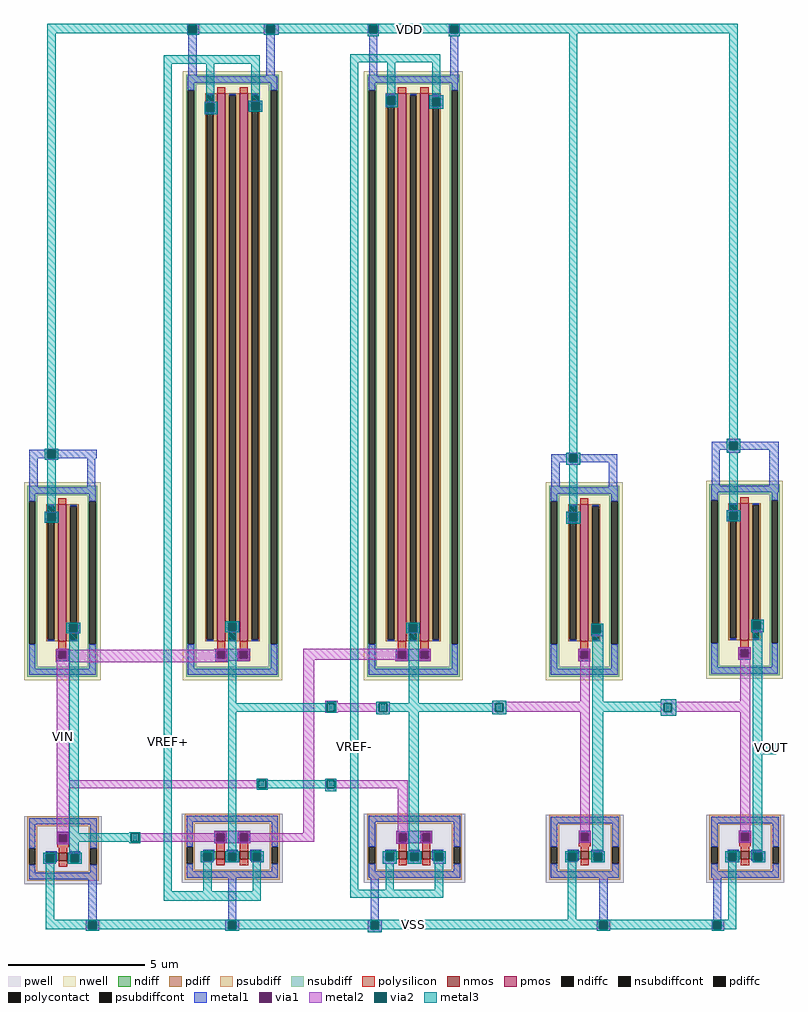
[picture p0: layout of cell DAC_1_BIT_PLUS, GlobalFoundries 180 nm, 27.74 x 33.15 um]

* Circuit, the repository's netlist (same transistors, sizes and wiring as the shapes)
* NGSPICE file created from DAC_1_BIT_PLUS.ext - technology: gf180mcuD

.subckt nfet_03v3_6AW5NP a_n56_n30# a_n208_n36# a_n346_n177# a_116_n30# a_41_86# a_n131_86#
X0 a_116_n30# a_41_86# a_n56_n30# a_n346_n177# nfet_03v3 ad=0.1596p pd=1.64u as=94.8f ps=0.92u w=0.3u l=0.3u
X1 a_n56_n30# a_n131_86# a_n208_n36# a_n346_n177# nfet_03v3 ad=94.8f pd=0.92u as=0.1596p ps=1.64u w=0.3u l=0.3u
.ends

.subckt pfet_03v3_2HCC33 a_112_n2000# a_n200_n2000# a_36_n2143# a_n52_n2000# w_n362_n2282#
+ a_n127_n2143#
X0 a_n52_n2000# a_n127_n2143# a_n200_n2000# w_n362_n2282# pfet_03v3 ad=5.2p pd=20.52u as=8.8p ps=40.88u w=20u l=0.3u
X1 a_112_n2000# a_36_n2143# a_n52_n2000# w_n362_n2282# pfet_03v3 ad=8.8p pd=40.88u as=5.2p ps=20.52u w=20u l=0.3u
.ends

.subckt pfet_03v3_77EGBB a_n118_n500# a_n45_n644# a_30_n500# w_n280_n782#
X0 a_30_n500# a_n45_n644# a_n118_n500# w_n280_n782# pfet_03v3 ad=2.2p pd=10.88u as=2.2p ps=10.88u w=5u l=0.3u
.ends

.subckt nfet_03v3_N4RDNQ a_n43_67# a_30_n30# a_n260_n177# a_n122_n36#
X0 a_30_n30# a_n43_67# a_n122_n36# a_n260_n177# nfet_03v3 ad=0.1596p pd=1.64u as=0.1596p ps=1.64u w=0.3u l=0.3u
.ends

.subckt DAC_1_BIT_PLUS VDD VREF+ VIN VOUT VREF- VSS
XXM1 m1_3480_5000# VREF+ VSS VREF+ m1_2320_6670# m1_2320_6670# nfet_03v3_6AW5NP
XXM2 VREF+ VREF+ VIN m1_3480_5000# VDD VIN pfet_03v3_2HCC33
XXM3 m1_3480_5000# VREF- VSS VREF- VIN VIN nfet_03v3_6AW5NP
XXM4 VREF- VREF- m1_2320_6670# m1_3480_5000# VDD m1_2320_6670# pfet_03v3_2HCC33
XXM5 VDD VIN m1_2320_6670# VDD pfet_03v3_77EGBB
XXM6 VIN m1_2320_6670# VSS VSS nfet_03v3_N4RDNQ
XXM7 VDD m1_3480_5000# m1_6150_5000# VDD pfet_03v3_77EGBB
XXM9 VDD m1_6150_5000# VOUT VDD pfet_03v3_77EGBB
XXM8 m1_3480_5000# m1_6150_5000# VSS VSS nfet_03v3_N4RDNQ
XXM10 m1_6150_5000# VOUT VSS VSS nfet_03v3_N4RDNQ
.ends

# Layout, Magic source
magic
tech gf180mcuD
magscale 1 10
<< metal1 >>
rect 3200 11110 3290 11120
rect 3200 11050 3210 11110
rect 3270 11050 3290 11110
rect 3200 11040 3290 11050
rect 3760 11110 3870 11120
rect 3760 11050 3780 11110
rect 3840 11050 3870 11110
rect 3760 11040 3870 11050
rect 4520 11110 4600 11120
rect 4520 11050 4530 11110
rect 4590 11050 4600 11110
rect 3210 10690 3270 11040
rect 3780 10690 3840 11040
rect 4520 11030 4600 11050
rect 5110 11110 5190 11120
rect 5110 11050 5120 11110
rect 5180 11050 5190 11110
rect 5110 11030 5190 11050
rect 4530 10690 4590 11030
rect 5120 10690 5180 11030
rect 4650 10590 4740 10610
rect 3650 10550 3750 10560
rect 3330 10540 3420 10550
rect 3330 10480 3340 10540
rect 3400 10480 3420 10540
rect 3650 10490 3670 10550
rect 3730 10490 3750 10550
rect 4650 10530 4660 10590
rect 4720 10530 4740 10590
rect 4650 10510 4740 10530
rect 4970 10580 5070 10600
rect 4970 10520 4990 10580
rect 5050 10520 5070 10580
rect 4970 10500 5070 10520
rect 3650 10480 3750 10490
rect 3330 10460 3420 10480
rect 7140 8070 7240 8090
rect 2160 8010 2260 8020
rect 7030 8010 7160 8070
rect 7220 8010 7520 8070
rect 2050 7950 2180 8010
rect 2240 7950 2540 8010
rect 5970 7980 6070 7990
rect 2050 7690 2110 7950
rect 2160 7940 2260 7950
rect 2470 7690 2530 7950
rect 5860 7920 5990 7980
rect 6050 7920 6340 7980
rect 5860 7690 5920 7920
rect 5970 7900 6070 7920
rect 6280 7690 6340 7920
rect 7030 7700 7090 8010
rect 7140 7990 7240 8010
rect 7450 7700 7520 8010
rect 7140 7560 7240 7570
rect 2160 7550 2260 7560
rect 2160 7490 2180 7550
rect 2240 7490 2260 7550
rect 2160 7480 2260 7490
rect 5970 7550 6070 7560
rect 5970 7490 5990 7550
rect 6050 7490 6070 7550
rect 7140 7500 7160 7560
rect 7220 7500 7240 7560
rect 7140 7490 7240 7500
rect 5970 7470 6070 7490
rect 7320 6760 7410 6770
rect 3480 6750 3580 6760
rect 2320 6740 2420 6750
rect 2320 6680 2340 6740
rect 2400 6680 2420 6740
rect 3480 6690 3500 6750
rect 3560 6690 3580 6750
rect 3480 6680 3580 6690
rect 4800 6740 4900 6750
rect 4800 6680 4820 6740
rect 4880 6680 4900 6740
rect 2320 6670 2420 6680
rect 4800 6670 4900 6680
rect 6150 6730 6240 6740
rect 6150 6670 6160 6730
rect 6220 6670 6240 6730
rect 7320 6700 7330 6760
rect 7390 6700 7410 6760
rect 7320 6680 7410 6700
rect 6150 6650 6240 6670
rect 2250 6485 2260 6545
rect 2320 6485 2330 6545
rect 3410 6485 3420 6545
rect 3480 6485 3490 6545
rect 3573 6485 3583 6545
rect 3643 6485 3653 6545
rect 4730 6485 4740 6545
rect 4800 6485 4810 6545
rect 4893 6485 4903 6545
rect 4963 6485 4973 6545
rect 6060 6485 6070 6545
rect 6130 6485 6140 6545
rect 7230 6495 7240 6555
rect 7300 6495 7310 6555
rect 2254 5145 2264 5205
rect 2324 5145 2334 5205
rect 3404 5150 3414 5210
rect 3474 5150 3484 5210
rect 3576 5150 3586 5210
rect 3646 5150 3656 5210
rect 4734 5149 4744 5210
rect 4804 5149 4814 5210
rect 4906 5150 4916 5211
rect 4976 5150 4986 5211
rect 6064 5155 6074 5215
rect 6134 5155 6144 5215
rect 7234 5154 7244 5215
rect 7304 5154 7314 5215
rect 3300 5070 3390 5080
rect 2150 5060 2240 5070
rect 2150 5000 2170 5060
rect 2230 5000 2240 5060
rect 2150 4990 2240 5000
rect 2330 5060 2430 5070
rect 2330 5000 2350 5060
rect 2410 5000 2430 5060
rect 3300 5010 3320 5070
rect 3380 5010 3390 5070
rect 3300 5000 3390 5010
rect 3480 5070 3580 5080
rect 3480 5010 3500 5070
rect 3560 5010 3580 5070
rect 3480 5000 3580 5010
rect 3670 5070 3760 5080
rect 3670 5010 3680 5070
rect 3740 5010 3760 5070
rect 3670 5000 3760 5010
rect 4630 5070 4730 5080
rect 4630 5010 4650 5070
rect 4710 5010 4730 5070
rect 2330 4990 2430 5000
rect 4630 4990 4730 5010
rect 4810 5070 4910 5080
rect 4810 5010 4830 5070
rect 4890 5010 4910 5070
rect 4810 4990 4910 5010
rect 5000 5070 5090 5080
rect 5000 5010 5010 5070
rect 5070 5010 5090 5070
rect 5000 4990 5090 5010
rect 5960 5070 6050 5080
rect 5960 5010 5980 5070
rect 6040 5010 6050 5070
rect 5960 5000 6050 5010
rect 6150 5070 6250 5080
rect 6150 5010 6170 5070
rect 6230 5010 6250 5070
rect 6150 5000 6250 5010
rect 7130 5070 7230 5080
rect 7130 5010 7150 5070
rect 7210 5010 7230 5070
rect 7130 5000 7230 5010
rect 7330 5070 7420 5080
rect 7330 5010 7340 5070
rect 7400 5010 7420 5070
rect 7330 5000 7420 5010
rect 2480 4580 2540 4900
rect 3500 4580 3560 4920
rect 4540 4580 4600 4920
rect 6210 4580 6270 4930
rect 7040 4580 7100 4910
rect 2460 4570 2560 4580
rect 2460 4510 2480 4570
rect 2540 4510 2560 4570
rect 2460 4500 2560 4510
rect 3480 4570 3580 4580
rect 3480 4510 3500 4570
rect 3560 4510 3580 4570
rect 3480 4500 3580 4510
rect 4520 4570 4620 4580
rect 4520 4510 4540 4570
rect 4600 4510 4620 4570
rect 4520 4490 4620 4510
rect 6190 4570 6290 4580
rect 6190 4510 6210 4570
rect 6270 4510 6290 4570
rect 6190 4500 6290 4510
rect 7030 4570 7120 4580
rect 7030 4510 7040 4570
rect 7100 4510 7120 4570
rect 7030 4500 7120 4510
<< via1 >>
rect 3210 11050 3270 11110
rect 3780 11050 3840 11110
rect 4530 11050 4590 11110
rect 5120 11050 5180 11110
rect 3340 10480 3400 10540
rect 3670 10490 3730 10550
rect 4660 10530 4720 10590
rect 4990 10520 5050 10580
rect 7160 8010 7220 8070
rect 2180 7950 2240 8010
rect 5990 7920 6050 7980
rect 2180 7490 2240 7550
rect 5990 7490 6050 7550
rect 7160 7500 7220 7560
rect 2340 6680 2400 6740
rect 3500 6690 3560 6750
rect 4820 6680 4880 6740
rect 6160 6670 6220 6730
rect 7330 6700 7390 6760
rect 2260 6485 2320 6545
rect 3420 6485 3480 6545
rect 3583 6485 3643 6545
rect 4740 6485 4800 6545
rect 4903 6485 4963 6545
rect 6070 6485 6130 6545
rect 7240 6495 7300 6555
rect 2264 5145 2324 5205
rect 3414 5150 3474 5210
rect 3586 5150 3646 5210
rect 4744 5149 4804 5210
rect 4916 5150 4976 5211
rect 6074 5155 6134 5215
rect 7244 5154 7304 5215
rect 2170 5000 2230 5060
rect 2350 5000 2410 5060
rect 3320 5010 3380 5070
rect 3500 5010 3560 5070
rect 3680 5010 3740 5070
rect 4650 5010 4710 5070
rect 4830 5010 4890 5070
rect 5010 5010 5070 5070
rect 5980 5010 6040 5070
rect 6170 5010 6230 5070
rect 7150 5010 7210 5070
rect 7340 5010 7400 5070
rect 2480 4510 2540 4570
rect 3500 4510 3560 4570
rect 4540 4510 4600 4570
rect 6210 4510 6270 4570
rect 7040 4510 7100 4570
<< metal2 >>
rect 3200 11110 3290 11120
rect 3200 11050 3210 11110
rect 3270 11050 3290 11110
rect 3200 11040 3290 11050
rect 3760 11110 3870 11120
rect 3760 11050 3780 11110
rect 3840 11050 3870 11110
rect 3760 11040 3870 11050
rect 4520 11110 4600 11120
rect 4520 11050 4530 11110
rect 4590 11050 4600 11110
rect 4520 11030 4600 11050
rect 5110 11110 5190 11120
rect 5110 11050 5120 11110
rect 5180 11050 5190 11110
rect 5110 11030 5190 11050
rect 4650 10590 4740 10610
rect 3650 10550 3750 10560
rect 3330 10540 3420 10550
rect 3330 10480 3340 10540
rect 3400 10480 3420 10540
rect 3650 10490 3670 10550
rect 3730 10490 3750 10550
rect 4650 10530 4660 10590
rect 4720 10530 4740 10590
rect 4650 10510 4740 10530
rect 4970 10580 5070 10600
rect 4970 10520 4990 10580
rect 5050 10520 5070 10580
rect 4970 10500 5070 10520
rect 3650 10480 3750 10490
rect 3330 10460 3420 10480
rect 7140 8070 7240 8090
rect 2160 8010 2260 8020
rect 2160 7950 2180 8010
rect 2240 7950 2260 8010
rect 7140 8010 7160 8070
rect 7220 8010 7240 8070
rect 7140 7990 7240 8010
rect 2160 7940 2260 7950
rect 5970 7980 6070 7990
rect 5970 7920 5990 7980
rect 6050 7920 6070 7980
rect 5970 7900 6070 7920
rect 7140 7560 7240 7570
rect 2160 7550 2260 7560
rect 2160 7490 2180 7550
rect 2240 7490 2260 7550
rect 2160 7480 2260 7490
rect 5970 7550 6070 7560
rect 5970 7490 5990 7550
rect 6050 7490 6070 7550
rect 7140 7500 7160 7560
rect 7220 7500 7240 7560
rect 7140 7490 7240 7500
rect 5970 7470 6070 7490
rect 7320 6760 7410 6770
rect 3480 6750 3580 6760
rect 2320 6740 2420 6750
rect 2320 6680 2340 6740
rect 2400 6680 2420 6740
rect 3480 6690 3500 6750
rect 3560 6690 3580 6750
rect 3480 6680 3580 6690
rect 4800 6740 4900 6750
rect 4800 6680 4820 6740
rect 4880 6680 4900 6740
rect 2320 6670 2420 6680
rect 4800 6670 4900 6680
rect 6150 6730 6240 6740
rect 6150 6670 6160 6730
rect 6220 6670 6240 6730
rect 7320 6700 7330 6760
rect 7390 6700 7410 6760
rect 7320 6680 7410 6700
rect 6150 6650 6240 6670
rect 2250 6558 2340 6560
rect 2245 6550 2340 6558
rect 3400 6550 3660 6560
rect 2240 6545 3660 6550
rect 2240 6485 2260 6545
rect 2320 6485 3420 6545
rect 3480 6485 3583 6545
rect 3643 6485 3660 6545
rect 2240 6470 3660 6485
rect 4050 6545 4980 6560
rect 4050 6485 4740 6545
rect 4800 6485 4903 6545
rect 4963 6485 4980 6545
rect 4050 6480 4980 6485
rect 2240 6460 3500 6470
rect 3568 6469 3658 6470
rect 2250 5600 2340 6460
rect 3710 5600 3790 5610
rect 2250 5540 3720 5600
rect 3780 5540 3790 5600
rect 2250 5342 2340 5540
rect 3710 5530 3790 5540
rect 2249 5330 2340 5342
rect 2249 5205 2339 5330
rect 3400 5227 3660 5230
rect 2249 5145 2264 5205
rect 2324 5145 2339 5205
rect 2249 5131 2339 5145
rect 2790 5210 2850 5220
rect 3399 5210 3661 5227
rect 4050 5210 4130 6480
rect 4720 6470 4980 6480
rect 6055 6545 6145 6558
rect 6055 6485 6070 6545
rect 6130 6485 6145 6545
rect 4725 6469 4815 6470
rect 4888 6469 4978 6470
rect 6055 6468 6145 6485
rect 7225 6555 7315 6568
rect 7225 6495 7240 6555
rect 7300 6495 7315 6555
rect 7225 6478 7315 6495
rect 4210 6160 4300 6180
rect 5430 6170 5530 6180
rect 6070 6170 6140 6468
rect 4580 6160 4680 6170
rect 4210 6100 4220 6160
rect 4280 6100 4600 6160
rect 4660 6100 4680 6160
rect 4210 6090 4300 6100
rect 4580 6080 4680 6100
rect 5430 6160 6140 6170
rect 5430 6100 5450 6160
rect 5510 6100 6140 6160
rect 5430 6080 5530 6100
rect 4210 5600 4290 5610
rect 4210 5540 4220 5600
rect 4280 5540 4810 5600
rect 4210 5520 4290 5540
rect 4740 5230 4810 5540
rect 6070 5231 6140 6100
rect 6660 6170 6770 6190
rect 7240 6170 7310 6478
rect 6660 6160 7310 6170
rect 6660 6100 6680 6160
rect 6740 6100 7310 6160
rect 6660 6070 6770 6100
rect 7240 5231 7310 6100
rect 4730 5228 4990 5230
rect 4730 5227 4992 5228
rect 2850 5150 3414 5210
rect 3474 5150 3586 5210
rect 3646 5150 4130 5210
rect 4729 5211 4992 5227
rect 4729 5210 4916 5211
rect 2790 5140 2850 5150
rect 3399 5140 3661 5150
rect 3399 5137 3489 5140
rect 3571 5137 3661 5140
rect 4729 5149 4744 5210
rect 4804 5150 4916 5210
rect 4976 5150 4992 5211
rect 4804 5149 4992 5150
rect 4729 5140 4992 5149
rect 6059 5215 6149 5231
rect 6059 5155 6074 5215
rect 6134 5155 6149 5215
rect 6059 5141 6149 5155
rect 7229 5215 7319 5231
rect 7229 5154 7244 5215
rect 7304 5154 7319 5215
rect 7229 5141 7319 5154
rect 4729 5136 4820 5140
rect 4901 5137 4992 5140
rect 3300 5070 3390 5080
rect 2150 5060 2240 5070
rect 2150 5000 2170 5060
rect 2230 5000 2240 5060
rect 2150 4990 2240 5000
rect 2330 5060 2430 5070
rect 2330 5000 2350 5060
rect 2410 5000 2430 5060
rect 3300 5010 3320 5070
rect 3380 5010 3390 5070
rect 3300 5000 3390 5010
rect 3480 5070 3580 5080
rect 3480 5010 3500 5070
rect 3560 5010 3580 5070
rect 3480 5000 3580 5010
rect 3670 5070 3760 5080
rect 3670 5010 3680 5070
rect 3740 5010 3760 5070
rect 3670 5000 3760 5010
rect 4630 5070 4730 5080
rect 4630 5010 4650 5070
rect 4710 5010 4730 5070
rect 2330 4990 2430 5000
rect 4630 4990 4730 5010
rect 4810 5070 4910 5080
rect 4810 5010 4830 5070
rect 4890 5010 4910 5070
rect 4810 4990 4910 5010
rect 5000 5070 5090 5080
rect 5000 5010 5010 5070
rect 5070 5010 5090 5070
rect 5000 4990 5090 5010
rect 5960 5070 6050 5080
rect 5960 5010 5980 5070
rect 6040 5010 6050 5070
rect 5960 5000 6050 5010
rect 6150 5070 6250 5080
rect 6150 5010 6170 5070
rect 6230 5010 6250 5070
rect 6150 5000 6250 5010
rect 7130 5070 7230 5080
rect 7130 5010 7150 5070
rect 7210 5010 7230 5070
rect 7130 5000 7230 5010
rect 7330 5070 7420 5080
rect 7330 5010 7340 5070
rect 7400 5010 7420 5070
rect 7330 5000 7420 5010
rect 2460 4570 2560 4580
rect 2460 4510 2480 4570
rect 2540 4510 2560 4570
rect 2460 4500 2560 4510
rect 3480 4570 3580 4580
rect 3480 4510 3500 4570
rect 3560 4510 3580 4570
rect 3480 4500 3580 4510
rect 4520 4570 4620 4580
rect 4520 4510 4540 4570
rect 4600 4510 4620 4570
rect 4520 4490 4620 4510
rect 6190 4570 6290 4580
rect 6190 4510 6210 4570
rect 6270 4510 6290 4570
rect 6190 4500 6290 4510
rect 7030 4570 7120 4580
rect 7030 4510 7040 4570
rect 7100 4510 7120 4570
rect 7030 4500 7120 4510
<< via2 >>
rect 3210 11050 3270 11110
rect 3780 11050 3840 11110
rect 4530 11050 4590 11110
rect 5120 11050 5180 11110
rect 3340 10480 3400 10540
rect 3670 10490 3730 10550
rect 4660 10530 4720 10590
rect 4990 10520 5050 10580
rect 2180 7950 2240 8010
rect 7160 8010 7220 8070
rect 5990 7920 6050 7980
rect 2180 7490 2240 7550
rect 5990 7490 6050 7550
rect 7160 7500 7220 7560
rect 2340 6680 2400 6740
rect 3500 6690 3560 6750
rect 4820 6680 4880 6740
rect 6160 6670 6220 6730
rect 7330 6700 7390 6760
rect 3720 5540 3780 5600
rect 4220 6100 4280 6160
rect 4600 6100 4660 6160
rect 5450 6100 5510 6160
rect 4220 5540 4280 5600
rect 6680 6100 6740 6160
rect 2790 5150 2850 5210
rect 2170 5000 2230 5060
rect 2350 5000 2410 5060
rect 3320 5010 3380 5070
rect 3500 5010 3560 5070
rect 3680 5010 3740 5070
rect 4650 5010 4710 5070
rect 4830 5010 4890 5070
rect 5010 5010 5070 5070
rect 5980 5010 6040 5070
rect 6170 5010 6230 5070
rect 7150 5010 7210 5070
rect 7340 5010 7400 5070
rect 2480 4510 2540 4570
rect 3500 4510 3560 4570
rect 4540 4510 4600 4570
rect 6210 4510 6270 4570
rect 7040 4510 7100 4570
<< metal3 >>
rect 2180 11110 7220 11120
rect 2180 11050 3210 11110
rect 3270 11050 3780 11110
rect 3840 11050 4530 11110
rect 4590 11050 5120 11110
rect 5180 11050 7220 11110
rect 2180 8020 2240 11050
rect 3200 11040 3290 11050
rect 3760 11040 3870 11050
rect 4520 11030 4600 11050
rect 5110 11030 5190 11050
rect 3030 10830 3730 10890
rect 2160 8010 2260 8020
rect 2160 7950 2180 8010
rect 2240 7950 2260 8010
rect 2160 7940 2260 7950
rect 2180 7560 2240 7940
rect 2160 7550 2260 7560
rect 2160 7490 2180 7550
rect 2240 7490 2260 7550
rect 2160 7480 2260 7490
rect 2320 6740 2420 6750
rect 2320 6680 2340 6740
rect 2400 6680 2420 6740
rect 2320 6670 2420 6680
rect 2340 5210 2410 6670
rect 2780 5210 2860 5220
rect 2340 5150 2790 5210
rect 2850 5150 2860 5210
rect 2340 5070 2410 5150
rect 2780 5140 2860 5150
rect 2150 5060 2240 5070
rect 2150 5000 2170 5060
rect 2230 5000 2240 5060
rect 2150 4990 2240 5000
rect 2330 5060 2430 5070
rect 2330 5000 2350 5060
rect 2410 5000 2430 5060
rect 2330 4990 2430 5000
rect 2170 4580 2230 4990
rect 3030 4790 3090 10830
rect 3340 10550 3400 10830
rect 3670 10560 3730 10830
rect 4390 10840 5050 10900
rect 3650 10550 3750 10560
rect 3330 10540 3420 10550
rect 3330 10480 3340 10540
rect 3400 10480 3420 10540
rect 3650 10490 3670 10550
rect 3730 10490 3750 10550
rect 3650 10480 3750 10490
rect 3330 10460 3420 10480
rect 3480 6750 3580 6760
rect 3480 6690 3500 6750
rect 3560 6690 3580 6750
rect 3480 6680 3580 6690
rect 3500 6160 3560 6680
rect 4220 6160 4290 6170
rect 3500 6100 4220 6160
rect 4280 6100 4290 6160
rect 3500 5080 3560 6100
rect 4220 6090 4290 6100
rect 3710 5600 3790 5610
rect 4210 5600 4290 5610
rect 3710 5540 3720 5600
rect 3780 5540 4220 5600
rect 4280 5540 4290 5600
rect 3710 5530 3790 5540
rect 4210 5520 4290 5540
rect 3300 5070 3390 5080
rect 3300 5010 3320 5070
rect 3380 5010 3390 5070
rect 3300 5000 3390 5010
rect 3480 5070 3580 5080
rect 3480 5010 3500 5070
rect 3560 5010 3580 5070
rect 3480 5000 3580 5010
rect 3670 5070 3760 5080
rect 3670 5010 3680 5070
rect 3740 5010 3760 5070
rect 3670 5000 3760 5010
rect 3320 4790 3380 5000
rect 3680 4790 3740 5000
rect 3030 4720 3740 4790
rect 4390 4800 4450 10840
rect 4660 10610 4720 10840
rect 4650 10590 4740 10610
rect 4990 10600 5050 10840
rect 4650 10530 4660 10590
rect 4720 10530 4740 10590
rect 4650 10510 4740 10530
rect 4970 10580 5070 10600
rect 4970 10520 4990 10580
rect 5050 10520 5070 10580
rect 4970 10500 5070 10520
rect 5990 7990 6050 11050
rect 7160 8090 7220 11050
rect 7140 8070 7240 8090
rect 7140 8010 7160 8070
rect 7220 8010 7240 8070
rect 7140 7990 7240 8010
rect 5970 7980 6070 7990
rect 5970 7920 5990 7980
rect 6050 7920 6070 7980
rect 5970 7900 6070 7920
rect 5990 7560 6050 7900
rect 7160 7570 7220 7990
rect 7140 7560 7240 7570
rect 5970 7550 6070 7560
rect 5970 7490 5990 7550
rect 6050 7490 6070 7550
rect 7140 7500 7160 7560
rect 7220 7500 7240 7560
rect 7140 7490 7240 7500
rect 5970 7470 6070 7490
rect 7320 6760 7410 6770
rect 4800 6740 4900 6750
rect 4800 6680 4820 6740
rect 4880 6680 4900 6740
rect 4800 6670 4900 6680
rect 6150 6730 6240 6740
rect 6150 6670 6160 6730
rect 6220 6670 6240 6730
rect 7320 6700 7330 6760
rect 7390 6700 7410 6760
rect 7320 6680 7410 6700
rect 4580 6160 4680 6170
rect 4820 6160 4890 6670
rect 6150 6650 6240 6670
rect 5430 6160 5530 6180
rect 4580 6100 4600 6160
rect 4660 6100 5450 6160
rect 5510 6100 5530 6160
rect 4580 6080 4680 6100
rect 4820 5080 4890 6100
rect 5430 6080 5530 6100
rect 6160 6170 6240 6650
rect 6660 6170 6770 6190
rect 6160 6160 6770 6170
rect 6160 6100 6680 6160
rect 6740 6100 6770 6160
rect 6160 5080 6240 6100
rect 6660 6070 6770 6100
rect 7330 5870 7400 6680
rect 7330 5790 7500 5870
rect 7330 5080 7400 5790
rect 4630 5070 4730 5080
rect 4630 5010 4650 5070
rect 4710 5010 4730 5070
rect 4630 4990 4730 5010
rect 4810 5070 4910 5080
rect 4810 5010 4830 5070
rect 4890 5010 4910 5070
rect 4810 4990 4910 5010
rect 5000 5070 5090 5080
rect 5000 5010 5010 5070
rect 5070 5010 5090 5070
rect 5000 4990 5090 5010
rect 5960 5070 6050 5080
rect 5960 5010 5980 5070
rect 6040 5010 6050 5070
rect 5960 5000 6050 5010
rect 6150 5070 6250 5080
rect 6150 5010 6170 5070
rect 6230 5010 6250 5070
rect 6150 5000 6250 5010
rect 7130 5070 7230 5080
rect 7130 5010 7150 5070
rect 7210 5010 7230 5070
rect 7130 5000 7230 5010
rect 7330 5070 7420 5080
rect 7330 5010 7340 5070
rect 7400 5010 7420 5070
rect 7330 5000 7420 5010
rect 4650 4800 4710 4990
rect 5010 4800 5070 4990
rect 4390 4740 5070 4800
rect 5980 4580 6040 5000
rect 7150 4580 7210 5000
rect 2170 4570 7210 4580
rect 2170 4510 2480 4570
rect 2540 4510 3500 4570
rect 3560 4510 4540 4570
rect 4600 4510 6210 4570
rect 6270 4510 7040 4570
rect 7100 4510 7210 4570
rect 2460 4500 2560 4510
rect 3480 4500 3580 4510
rect 4520 4490 4620 4510
rect 6190 4500 6290 4510
rect 7030 4500 7120 4510
use nfet_03v3_6AW5NP  XM1
transform 1 0 3530 0 1 5051
box -370 -201 370 302
use pfet_03v3_2HCC33  XM2
transform 1 0 3532 0 1 8612
box -362 -2282 362 2162
use nfet_03v3_6AW5NP  XM3
transform 1 0 4860 0 1 5051
box -370 -201 370 302
use pfet_03v3_2HCC33  XM4
transform 1 0 4852 0 1 8612
box -362 -2282 362 2162
use pfet_03v3_77EGBB  XM5
transform 1 0 2290 0 1 7112
box -280 -782 280 662
use nfet_03v3_N4RDNQ  XM6
transform 1 0 2294 0 1 5041
box -284 -201 284 294
use pfet_03v3_77EGBB  XM7
transform 1 0 6100 0 1 7112
box -280 -782 280 662
use nfet_03v3_N4RDNQ  XM8
transform 1 0 6104 0 1 5051
box -284 -201 284 294
use pfet_03v3_77EGBB  XM9
transform 1 0 7270 0 1 7122
box -280 -782 280 662
use nfet_03v3_N4RDNQ  XM10
transform 1 0 7274 0 1 5051
box -284 -201 284 294
<< labels >>
rlabel metal3 4810 11070 4840 11090 0 VDD
port 1 nsew power bidirectional
rlabel metal3 3050 5870 3080 5900 0 VREF+
port 2 nsew analog input
rlabel metal2 2280 5900 2310 5930 0 VIN
port 3 nsew signal input
rlabel metal3 7450 5820 7480 5850 0 VOUT
port 4 nsew analog output
rlabel metal3 4410 5830 4440 5860 0 VREF-
port 5 nsew analog input
rlabel metal3 4840 4530 4870 4560 0 VSS
port 6 nsew ground bidirectional
<< end >>

# cell nfet_03v3_6AW5NP: kit device nfet_03v3, w 0.3 l 0.3 m 1 nf 2 diffcov 100 polycov 100 guard 1 glc 1 grc 1 gtc 0 gbc 0 tbcov 100 rlcov 100 topc 0 botc 0 poverlap 0 doverlap 1 lmin 0.28 wmin 0.22 class mosfet full_metal 1 compatible {nfet_03v3 nfet_05v0 nfet_06v0 nfet_06v0_nvt}

# cell pfet_03v3_2HCC33: kit device pfet_03v3, w 20 l 0.3 m 1 nf 2 diffcov 100 polycov 100 guard 1 glc 1 grc 1 gtc 0 gbc 0 tbcov 100 rlcov 100 topc 0 botc 0 poverlap 0 doverlap 1 lmin 0.28 wmin 0.22 class mosfet full_metal 1 compatible {pfet_03v3 pfet_05v0 pfet_06v0}

# cell pfet_03v3_77EGBB: kit device pfet_03v3, w 5 l 0.3 m 1 nf 1 diffcov 100 polycov 100 guard 1 glc 1 grc 1 gtc 0 gbc 0 tbcov 100 rlcov 100 topc 0 botc 0 poverlap 0 doverlap 1 lmin 0.28 wmin 0.22 class mosfet full_metal 1 compatible {pfet_03v3 pfet_05v0 pfet_06v0}

# cell nfet_03v3_N4RDNQ: kit device nfet_03v3, w 0.3 l 0.3 m 1 nf 1 diffcov 100 polycov 100 guard 1 glc 1 grc 1 gtc 0 gbc 0 tbcov 100 rlcov 100 topc 0 botc 0 poverlap 0 doverlap 1 lmin 0.28 wmin 0.22 class mosfet full_metal 1 compatible {nfet_03v3 nfet_05v0 nfet_06v0 nfet_06v0_nvt}
